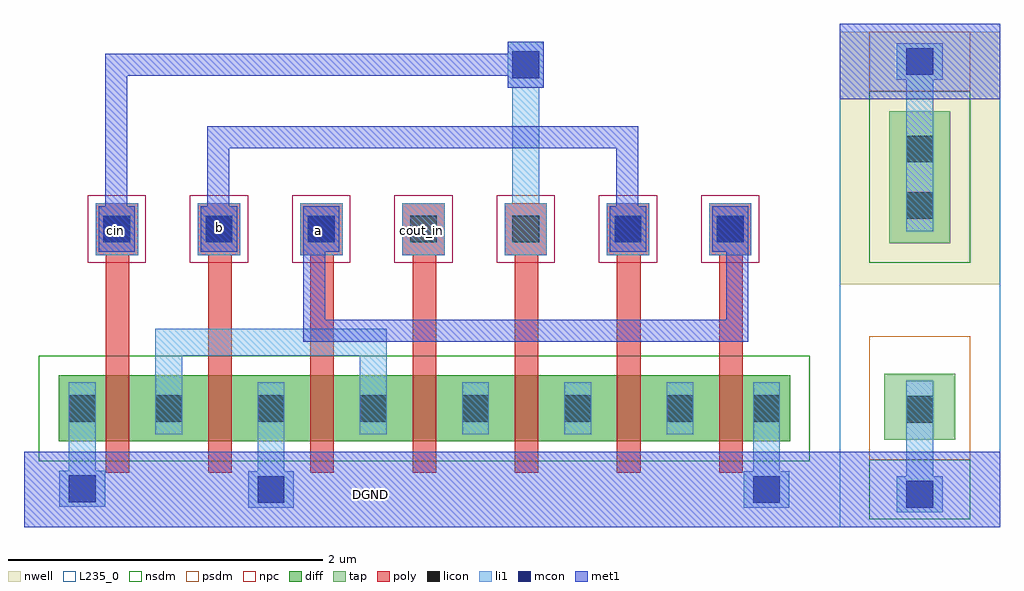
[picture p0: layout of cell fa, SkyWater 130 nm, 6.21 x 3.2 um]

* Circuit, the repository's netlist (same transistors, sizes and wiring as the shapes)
** sch_path: /home/ee24s053/ee5311-2025/tut6/incr/step2/fa.sch
.subckt fa a b cin DGND cout_in
*.PININFO a:I b:I cin:I DGND:B cout_in:I
XM1 net1 a DGND DGND sky130_fd_pr__nfet_01v8 L=0.15 W=0.42 nf=1 m=1
XM2 net1 b DGND DGND sky130_fd_pr__nfet_01v8 L=0.15 W=0.42 nf=1 m=1
XM3 net1 cin DGND DGND sky130_fd_pr__nfet_01v8 L=0.15 W=0.42 nf=1 m=1
XM4 net3 a DGND DGND sky130_fd_pr__nfet_01v8 L=0.15 W=0.42 nf=1 m=1
XM5 net2 b net3 DGND sky130_fd_pr__nfet_01v8 L=0.15 W=0.42 nf=1 m=1
XM6 net4 cin net2 DGND sky130_fd_pr__nfet_01v8 L=0.15 W=0.42 nf=1 m=1
XM7 net4 cout_in net1 DGND sky130_fd_pr__nfet_01v8 L=0.15 W=0.42 nf=1 m=1
.ends
.end

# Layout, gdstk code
from math import pi, radians
import gdstk
lib = gdstk.Library(unit=1e-6, precision=1e-09)
def R(c, l, rs):  # rectangles x0, y0, x1, y1
    for r in rs: c.add(gdstk.rectangle(r[:2], r[2:], *l))
def A(c, l, x, y, w, h, nx, ny, dx, dy):  # array of equal rectangles
    R(c, l, [(x+i*dx, y+j*dy, x+i*dx+w, y+j*dy+h) for i in range(nx) for j in range(ny)])
nwell = (64, 20)
diff = (65, 20)
tap = (65, 44)
poly = (66, 20)
licon = (66, 44)
li1 = (67, 20)
mcon = (67, 44)
met1 = (68, 20)
nsdm = (93, 44)
psdm = (94, 20)
npc = (95, 20)
L235_0 = (235, 0)

nfet_1 = lib.new_cell('nfet$1')
R(nfet_1, diff, [(0,0,4.65,0.42)])
A(nfet_1, poly, 0.3, -0.2, 0.15, 0.82, 7, 1, 0.65, 0)
A(nfet_1, licon, 0.615, 0.125, 0.17, 0.17, 6, 1, 0.65, 0)
R(nfet_1, licon, [(0.065,0.125,0.235,0.295), (4.415,0.125,4.585,0.295)])
A(nfet_1, li1, 0.615, 0.045, 0.17, 0.33, 6, 1, 0.65, 0)
R(nfet_1, li1, [(0.065,0.045,0.235,0.375), (4.415,0.045,4.585,0.375)])
R(nfet_1, nsdm, [(-0.125,-0.125,4.775,0.545)])

vias_gen = lib.new_cell('vias_gen')
R(vias_gen, li1, [(0,0,0.29,0.23)])
R(vias_gen, mcon, [(0.06,0.03,0.23,0.2)])
R(vias_gen, met1, [(0,0,0.29,0.23)])

tap_ = lib.new_cell('tap')
R(tap_, nwell, [(-1.455,0.92,-0.435,2.525)])
R(tap_, tap, [(-1.17,-0.07,-0.72,0.35), (-1.14,1.18,-0.75,2.02)])
R(tap_, licon, [(-1.03,0.04,-0.86,0.21), (-1.03,1.335,-0.86,1.505), (-1.03,1.695,-0.86,1.865)])
R(tap_, li1, [(-1.03,-0.3,-0.86,-0.025), (-1.03,-0.025,-0.86,0.305), (-1.03,1.255,-0.86,1.945), (-1.03,1.945,-0.86,2.25)])
R(tap_, met1, [(-1.455,-0.625,-0.435,-0.145), (-1.455,2.095,-0.435,2.575)])
R(tap_, nsdm, [(-1.265,-0.575,-0.625,-0.195), (-1.265,1.055,-0.625,2.145)])
R(tap_, psdm, [(-1.265,-0.195,-0.625,0.59), (-1.265,2.145,-0.625,2.525)])
R(tap_, L235_0, [(-1.455,-0.625,-0.435,2.575)])
tap_.add(gdstk.Reference(vias_gen, (-1.09,-0.53)))
tap_.add(gdstk.Reference(vias_gen, (-1.09,2.22)))

vias_gen_1 = lib.new_cell('vias_gen$1')
R(vias_gen_1, li1, [(0,0,0.29,0.23)])
R(vias_gen_1, mcon, [(0.06,0.03,0.23,0.2)])
R(vias_gen_1, met1, [(0,0,0.29,0.23)])

vias_gen_2 = lib.new_cell('vias_gen$2')
R(vias_gen_2, poly, [(0,0,0.33,0.27)])
R(vias_gen_2, licon, [(0.08,0.05,0.25,0.22)])
R(vias_gen_2, li1, [(0,0,0.33,0.27)])
R(vias_gen_2, npc, [(-0.05,-0.05,0.38,0.32)])

vias_gen_3 = lib.new_cell('vias_gen$3')
R(vias_gen_3, li1, [(0,0,0.29,0.23)])
R(vias_gen_3, mcon, [(0.06,0.03,0.23,0.2)])
R(vias_gen_3, met1, [(0,0,0.29,0.23)])

c_fa = lib.new_cell('fa')
R(c_fa, met1, [(-4.07,-0.865,1.115,-0.385)])
c_fa.add(gdstk.FlexPath([(-3.15,0.055),(-3.15,0.31),(-1.85,0.31),(-1.85,0.055)], 0.17, ends="flush", simple_path=True, layer=67, datatype=20))  # li1
c_fa.add(gdstk.FlexPath([(-2.5,-0.275),(-2.5,-0.51)], 0.17, ends="flush", simple_path=True, layer=67, datatype=20))  # li1
c_fa.add(gdstk.FlexPath([(-3.7,-0.27),(-3.7,-0.505)], 0.17, ends="flush", simple_path=True, layer=67, datatype=20))  # li1
c_fa.add(gdstk.FlexPath([(0.65,-0.275),(0.65,-0.51)], 0.17, ends="flush", simple_path=True, layer=67, datatype=20))  # li1
c_fa.add(gdstk.FlexPath([(-0.88,1.93),(-0.88,1.195)], 0.17, ends="flush", simple_path=True, layer=67, datatype=20))  # li1
c_fa.add(gdstk.FlexPath([(-2.225,0.885),(-2.225,0.385),(0.465,0.385),(0.465,0.885)], 0.14, ends="flush", simple_path=True, layer=68, datatype=20))  # met1
c_fa.add(gdstk.FlexPath([(-2.835,1.175),(-2.835,1.615),(-0.235,1.615),(-0.235,1.175)], 0.14, ends="flush", simple_path=True, layer=68, datatype=20))  # met1
c_fa.add(gdstk.FlexPath([(-3.485,1.175),(-3.485,2.075),(-0.995,2.075)], 0.14, ends="flush", simple_path=True, layer=68, datatype=20))  # met1
c_fa.add(gdstk.FlexPath([(-3.475,0.3),(-3.475,0.865)], 0.15, ends="flush", simple_path=True, layer=66, datatype=20))  # poly
c_fa.add(gdstk.FlexPath([(-2.825,0.3),(-2.825,0.865)], 0.15, ends="flush", simple_path=True, layer=66, datatype=20))  # poly
c_fa.add(gdstk.FlexPath([(-2.175,0.3),(-2.175,0.865)], 0.15, ends="flush", simple_path=True, layer=66, datatype=20))  # poly
c_fa.add(gdstk.FlexPath([(-1.525,0.3),(-1.525,0.865)], 0.15, ends="flush", simple_path=True, layer=66, datatype=20))  # poly
c_fa.add(gdstk.FlexPath([(-0.875,0.3),(-0.875,0.865)], 0.15, ends="flush", simple_path=True, layer=66, datatype=20))  # poly
c_fa.add(gdstk.FlexPath([(-0.225,0.3),(-0.225,0.865)], 0.15, ends="flush", simple_path=True, layer=66, datatype=20))  # poly
c_fa.add(gdstk.FlexPath([(0.425,0.3),(0.425,0.865)], 0.15, ends="flush", simple_path=True, layer=66, datatype=20))  # poly
c_fa.add(gdstk.Reference(nfet_1, (-3.85,-0.32)))
c_fa.add(gdstk.Reference(tap_, (2.57,-0.24)))
c_fa.add(gdstk.Reference(vias_gen_1, (-2.645,-0.74)))
c_fa.add(gdstk.Reference(vias_gen_1, (-3.845,-0.735)))
c_fa.add(gdstk.Reference(vias_gen_2, (-3.345,0.865), rotation=pi/2))
c_fa.add(gdstk.Reference(vias_gen_2, (-2.695,0.865), rotation=pi/2))
c_fa.add(gdstk.Reference(vias_gen_2, (-2.045,0.865), rotation=pi/2))
c_fa.add(gdstk.Reference(vias_gen_3, (0.505,-0.74)))
c_fa.add(gdstk.Reference(vias_gen_2, (-0.745,0.865), rotation=pi/2))
c_fa.add(gdstk.Reference(vias_gen_2, (-1.395,0.865), rotation=pi/2))
c_fa.add(gdstk.Reference(vias_gen_2, (-0.095,0.865), rotation=pi/2))
c_fa.add(gdstk.Reference(vias_gen_2, (0.555,0.865), rotation=pi/2))
c_fa.add(gdstk.Reference(vias_gen_3, (-0.765,1.93), rotation=pi/2))
c_fa.add(gdstk.Reference(vias_gen_3, (-0.115,0.885), rotation=pi/2))
c_fa.add(gdstk.Reference(vias_gen_3, (0.535,0.885), rotation=pi/2))
c_fa.add(gdstk.Reference(vias_gen_3, (-3.365,0.885), rotation=pi/2))
c_fa.add(gdstk.Reference(vias_gen_3, (-2.715,0.885), rotation=pi/2))
c_fa.add(gdstk.Reference(vias_gen_3, (-2.065,0.885), rotation=pi/2))
c_fa.add(gdstk.Label('DGND', (-1.865,-0.655), layer=68, texttype=5))
c_fa.add(gdstk.Label('cin', (-3.49,1.02), layer=67, texttype=5))
c_fa.add(gdstk.Label('b', (-2.825,1.04), layer=67, texttype=5))
c_fa.add(gdstk.Label('a', (-2.195,1.02), layer=67, texttype=5))
c_fa.add(gdstk.Label('cout_in', (-1.545,1.02), layer=67, texttype=5))

lib.write_gds('fa.gds')
